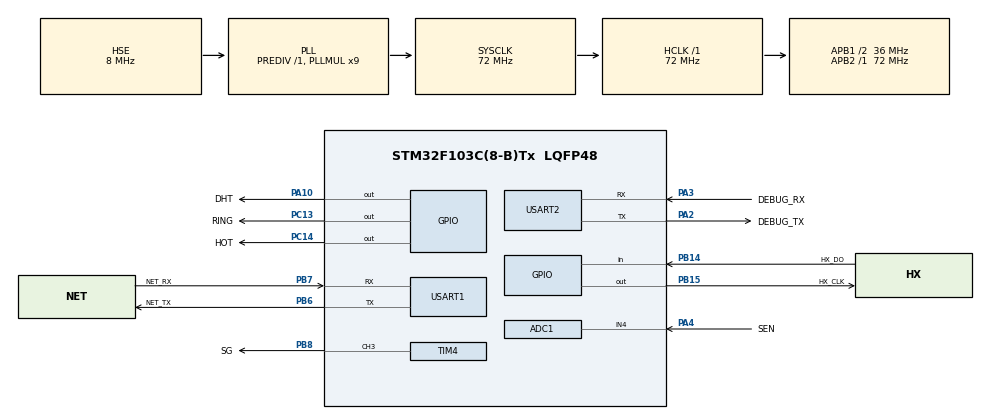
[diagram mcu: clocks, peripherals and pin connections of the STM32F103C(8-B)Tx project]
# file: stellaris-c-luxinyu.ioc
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ADC1.Channel-1\#ChannelRegularConversion=ADC_CHANNEL_4
ADC1.ContinuousConvMode=ENABLE
ADC1.NbrOfConversionFlag=1
ADC1.Rank-1\#ChannelRegularConversion=1
ADC1.SamplingTime-1\#ChannelRegularConversion=ADC_SAMPLETIME_1CYCLE_5
ADC1.master=1
Dma.Request0=USART2_RX
Dma.Request1=USART2_TX
Dma.Request2=USART1_RX
Dma.Request3=USART1_TX
Dma.USART1_RX.2.Direction=DMA_PERIPH_TO_MEMORY
Dma.USART1_RX.2.Instance=DMA1_Channel5
Dma.USART1_RX.2.MemDataAlignment=DMA_MDATAALIGN_BYTE
Dma.USART1_RX.2.MemInc=DMA_MINC_ENABLE
Dma.USART1_RX.2.Mode=DMA_NORMAL
Dma.USART1_RX.2.PeriphDataAlignment=DMA_PDATAALIGN_BYTE
Dma.USART1_RX.2.PeriphInc=DMA_PINC_DISABLE
Dma.USART1_RX.2.Priority=DMA_PRIORITY_LOW
Dma.USART1_TX.3.Direction=DMA_MEMORY_TO_PERIPH
Dma.USART1_TX.3.Instance=DMA1_Channel4
Dma.USART1_TX.3.MemDataAlignment=DMA_MDATAALIGN_BYTE
Dma.USART1_TX.3.MemInc=DMA_MINC_ENABLE
Dma.USART1_TX.3.Mode=DMA_NORMAL
Dma.USART1_TX.3.PeriphDataAlignment=DMA_PDATAALIGN_BYTE
Dma.USART1_TX.3.PeriphInc=DMA_PINC_DISABLE
Dma.USART1_TX.3.Priority=DMA_PRIORITY_LOW
Dma.USART2_RX.0.Direction=DMA_PERIPH_TO_MEMORY
Dma.USART2_RX.0.Instance=DMA1_Channel6
Dma.USART2_RX.0.MemDataAlignment=DMA_MDATAALIGN_BYTE
Dma.USART2_RX.0.MemInc=DMA_MINC_ENABLE
Dma.USART2_RX.0.Mode=DMA_NORMAL
Dma.USART2_RX.0.PeriphDataAlignment=DMA_PDATAALIGN_BYTE
Dma.USART2_RX.0.PeriphInc=DMA_PINC_DISABLE
Dma.USART2_RX.0.Priority=DMA_PRIORITY_LOW
Dma.USART2_TX.1.Direction=DMA_MEMORY_TO_PERIPH
Dma.USART2_TX.1.Instance=DMA1_Channel7
Dma.USART2_TX.1.MemDataAlignment=DMA_MDATAALIGN_BYTE
Dma.USART2_TX.1.MemInc=DMA_MINC_ENABLE
Dma.USART2_TX.1.Mode=DMA_NORMAL
Dma.USART2_TX.1.PeriphDataAlignment=DMA_PDATAALIGN_BYTE
Dma.USART2_TX.1.PeriphInc=DMA_PINC_DISABLE
Dma.USART2_TX.1.Priority=DMA_PRIORITY_LOW
Mcu.Family=STM32F1
Mcu.Name=STM32F103C(8-B)Tx
Mcu.Package=LQFP48
NVIC.DMA1_Channel4_IRQn=true\:0\:0\:false\:false\:true\:false\:true\:true
NVIC.DMA1_Channel5_IRQn=true\:0\:0\:false\:false\:true\:false\:true\:true
NVIC.DMA1_Channel6_IRQn=true\:0\:0\:false\:false\:true\:false\:true\:true
NVIC.DMA1_Channel7_IRQn=true\:0\:0\:false\:false\:true\:false\:true\:true
NVIC.PriorityGroup=NVIC_PRIORITYGROUP_4
NVIC.USART1_IRQn=true\:0\:0\:false\:false\:true\:true\:true\:true
NVIC.USART2_IRQn=true\:0\:0\:false\:false\:true\:true\:true\:true
PA10.GPIO_Label=DHT
PA10.Signal=GPIO_Output
PA13.Mode=Serial_Wire
PA13.Signal=SYS_JTMS-SWDIO
PA14.Mode=Serial_Wire
PA14.Signal=SYS_JTCK-SWCLK
PA2.GPIO_Label=DEBUG_TX
PA2.Mode=Asynchronous
PA2.Signal=USART2_TX
PA3.GPIO_Label=DEBUG_RX
PA3.Mode=Asynchronous
PA3.Signal=USART2_RX
PA4.GPIO_Label=SEN
PA4.Signal=ADCx_IN4
PB14.GPIO_Label=HX_DO
PB14.GPIO_PuPd=GPIO_PULLUP
PB14.Signal=GPIO_Input
PB15.GPIO_Label=HX_CLK
PB15.GPIO_ModeDefaultOutputPP=GPIO_MODE_OUTPUT_PP
PB15.GPIO_PuPd=GPIO_PULLDOWN
PB15.GPIO_Speed=GPIO_SPEED_FREQ_MEDIUM
PB15.Signal=GPIO_Output
PB6.GPIO_Label=NET_TX
PB6.Mode=Asynchronous
PB6.Signal=USART1_TX
PB7.GPIO_Label=NET_RX
PB7.Mode=Asynchronous
PB7.Signal=USART1_RX
PB8.GPIO_Label=SG
PB8.Signal=S_TIM4_CH3
PC13-TAMPER-RTC.GPIO_Label=RING
PC13-TAMPER-RTC.GPIO_PuPd=GPIO_NOPULL
PC13-TAMPER-RTC.Signal=GPIO_Output
PC14-OSC32_IN.GPIO_Label=HOT
PC14-OSC32_IN.GPIO_PuPd=GPIO_NOPULL
PC14-OSC32_IN.PinState=GPIO_PIN_RESET
PC14-OSC32_IN.Signal=GPIO_Output
PD0-OSC_IN.Mode=HSE-External-Oscillator
PD0-OSC_IN.Signal=RCC_OSC_IN
PD1-OSC_OUT.Mode=HSE-External-Oscillator
PD1-OSC_OUT.Signal=RCC_OSC_OUT
ProjectManager.HeapSize=0x200
ProjectManager.StackSize=0x400
ProjectManager.TargetToolchain=CMake
RCC.ADCPresc=RCC_ADCPCLK2_DIV6
RCC.AHBFreq_Value=72000000
RCC.APB1CLKDivider=RCC_HCLK_DIV2
RCC.APB1Freq_Value=36000000
RCC.APB1TimFreq_Value=72000000
RCC.APB2Freq_Value=72000000
RCC.APB2TimFreq_Value=72000000
RCC.HCLKFreq_Value=72000000
RCC.PLLMUL=RCC_PLL_MUL9
RCC.PLLSourceVirtual=RCC_PLLSOURCE_HSE
RCC.RCC_MCOSource=RCC_MCO1SOURCE_HSI
RCC.SYSCLKFreq_VALUE=72000000
RCC.SYSCLKSource=RCC_SYSCLKSOURCE_PLLCLK
RCC.USBFreq_Value=72000000
SH.ADCx_IN4.0=ADC1_IN4,IN4
SH.S_TIM4_CH3.0=TIM4_CH3,PWM Generation3 CH3
TIM4.Channel-PWM\ Generation3\ CH3=TIM_CHANNEL_3
TIM4.OC3Preload_PWM=ENABLE
TIM4.Period=2000-1
TIM4.Prescaler=720-1
USART1.VirtualMode=VM_ASYNC
USART2.VirtualMode=VM_ASYNC
VP_TIM4_VS_ClockSourceINT.Mode=Internal
board=custom

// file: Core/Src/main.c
/* USER CODE BEGIN Header */
/**
 ******************************************************************************
 * @file           : main.c
 * @brief          : Main program body
 ******************************************************************************
 * @attention
 *
 * Copyright (c) 2025 STMicroelectronics.
 * All rights reserved.
 *
 * This software is licensed under terms that can be found in the LICENSE file
 * in the root directory of this software component.
 * If no LICENSE file comes with this software, it is provided AS-IS.
 *
 ******************************************************************************
 */
/* USER CODE END Header */
#include "main.h"
#include "adc.h"
#include "dma.h"
#include "tim.h"
#include "usart.h"
#include "gpio.h"

/* USER CODE BEGIN Includes */
#include "DebugUart/uart2.h"
#include "Delay/delay.h"
#include "Dht11/11.h"
#include "HX711/hx711.h"
#include "Sen/0121.h"
#include "math.h"
#include <stdint.h>
#include <stdio.h>
#include <string.h>

#include "90.h"
#include "start.h"
#include "uart1.h"

/* USER CODE END Includes */

void SystemClock_Config(void);

int main(void)
{

    /* MCU Configuration--------------------------------------------------------*/

    /* Reset of all peripherals, Initializes the Flash interface and the Systick. */
    HAL_Init();

    /* Configure the system clock */
    SystemClock_Config();

    /* Initialize all configured peripherals */
    MX_GPIO_Init();
    MX_DMA_Init();
    MX_USART1_UART_Init();
    MX_USART2_UART_Init();
    MX_ADC1_Init();
    MX_TIM4_Init();
    /* USER CODE BEGIN 2 */

    // 发送提示信息
    UART2_TransmitString_DMA("MCU Started...\r\n");

    init_mcu();

    extern uint8_t Data[5];
    HAL_TIM_PWM_Start(&htim4,TIM_CHANNEL_3);

    /* USER CODE END 2 */

    /* Infinite loop */
    while (1)
    {

        /* USER CODE BEGIN 3 */
        // Get_Weight();
        //
        // char weight_str[32];
        // sprintf(weight_str, "%ld\r\n", Weight_Shiwu);
        // UART2_TransmitString_DMA(weight_str);
        //
        // uint16_t senValue = Read_SEN_ADC_Channel(ADC_CHANNEL_4);
        // char sen_str[32];
        // sprintf(sen_str, "%d\r\n", senValue);
        // UART2_TransmitString_DMA(sen_str);

        // if (DHT_Read())
        // {
        //     uint8_t* DHTValue1 = (uint8_t*)Data + 0;
        //     uint8_t* DHTValue2 = (uint8_t*)Data + 2;
        //     char dht_str[32];
        //     sprintf(dht_str, "%d\r\n%d\r\n\r\n", *DHTValue1, *DHTValue2);
        //     UART2_TransmitString_DMA(dht_str);
        // }
        //
        // delay_ms(1000);
        //
        //   HAL_GPIO_WritePin(HX_CLK_GPIO_Port, HX_CLK_Pin, GPIO_PIN_SET);
        //   delay_us(20);
        //   HAL_GPIO_WritePin(HX_CLK_GPIO_Port, HX_CLK_Pin, GPIO_PIN_RESET);
        //   delay_us(20);
        //
        //
        // DuoJi_Angle_CLOSE();
        // delay_ms(1000);
        // DuoJi_Angle_OPEN();
        // delay_ms(1000);

        // 中点，占空比7.5%，即2000 * 7.5% = 150
        __HAL_TIM_SET_COMPARE(&htim4, TIM_CHANNEL_3, 150);
        delay_ms(1000);

        // 向左转，占空比2.5%，即2000 * 2.5% = 50
        __HAL_TIM_SET_COMPARE(&htim4, TIM_CHANNEL_3, 50);
        delay_ms(1000);

        // 向右转，占空比12.5%，即2000 * 12.5% = 250
        __HAL_TIM_SET_COMPARE(&htim4, TIM_CHANNEL_3, 250);
        delay_ms(1000);
    }
    /* USER CODE END 3 */
}

void SystemClock_Config(void)
{
    RCC_OscInitTypeDef RCC_OscInitStruct = {0};
    RCC_ClkInitTypeDef RCC_ClkInitStruct = {0};
    RCC_PeriphCLKInitTypeDef PeriphClkInit = {0};

    /** Initializes the RCC Oscillators according to the specified parameters
    * in the RCC_OscInitTypeDef structure.
    */
    RCC_OscInitStruct.OscillatorType = RCC_OSCILLATORTYPE_HSE;
    RCC_OscInitStruct.HSEState = RCC_HSE_ON;
    RCC_OscInitStruct.HSEPredivValue = RCC_HSE_PREDIV_DIV1;
    RCC_OscInitStruct.HSIState = RCC_HSI_ON;
    RCC_OscInitStruct.PLL.PLLState = RCC_PLL_ON;
    RCC_OscInitStruct.PLL.PLLSource = RCC_PLLSOURCE_HSE;
    RCC_OscInitStruct.PLL.PLLMUL = RCC_PLL_MUL9;
    if (HAL_RCC_OscConfig(&RCC_OscInitStruct) != HAL_OK)
    {
        Error_Handler();
    }

    /** Initializes the CPU, AHB and APB buses clocks
    */
    RCC_ClkInitStruct.ClockType = RCC_CLOCKTYPE_HCLK | RCC_CLOCKTYPE_SYSCLK
        | RCC_CLOCKTYPE_PCLK1 | RCC_CLOCKTYPE_PCLK2;
    RCC_ClkInitStruct.SYSCLKSource = RCC_SYSCLKSOURCE_PLLCLK;
    RCC_ClkInitStruct.AHBCLKDivider = RCC_SYSCLK_DIV1;
    RCC_ClkInitStruct.APB1CLKDivider = RCC_HCLK_DIV2;
    RCC_ClkInitStruct.APB2CLKDivider = RCC_HCLK_DIV1;

    if (HAL_RCC_ClockConfig(&RCC_ClkInitStruct, FLASH_LATENCY_2) != HAL_OK)
    {
        Error_Handler();
    }
    PeriphClkInit.PeriphClockSelection = RCC_PERIPHCLK_ADC;
    PeriphClkInit.AdcClockSelection = RCC_ADCPCLK2_DIV6;
    if (HAL_RCCEx_PeriphCLKConfig(&PeriphClkInit) != HAL_OK)
    {
        Error_Handler();
    }
}

void Error_Handler(void)
{
    __disable_irq();
    while (1)
    {
    }
}
#ifdef USE_FULL_ASSERT
/**
  * @brief  Reports the name of the source file and the source line number
  *         where the assert_param error has occurred.
  * @param  file: pointer to the source file name
  * @param  line: assert_param error line source number
  * @retval None
  */
void assert_failed(uint8_t* file, uint32_t line)
{
    /* USER CODE BEGIN 6 */
    /* User can add his own implementation to report the file name and line
       number, ex: printf("Wrong parameters value: file %s on line %d\r\n", file,
       line) */
    /* USER CODE END 6 */
}
#endif /* USE_FULL_ASSERT */
